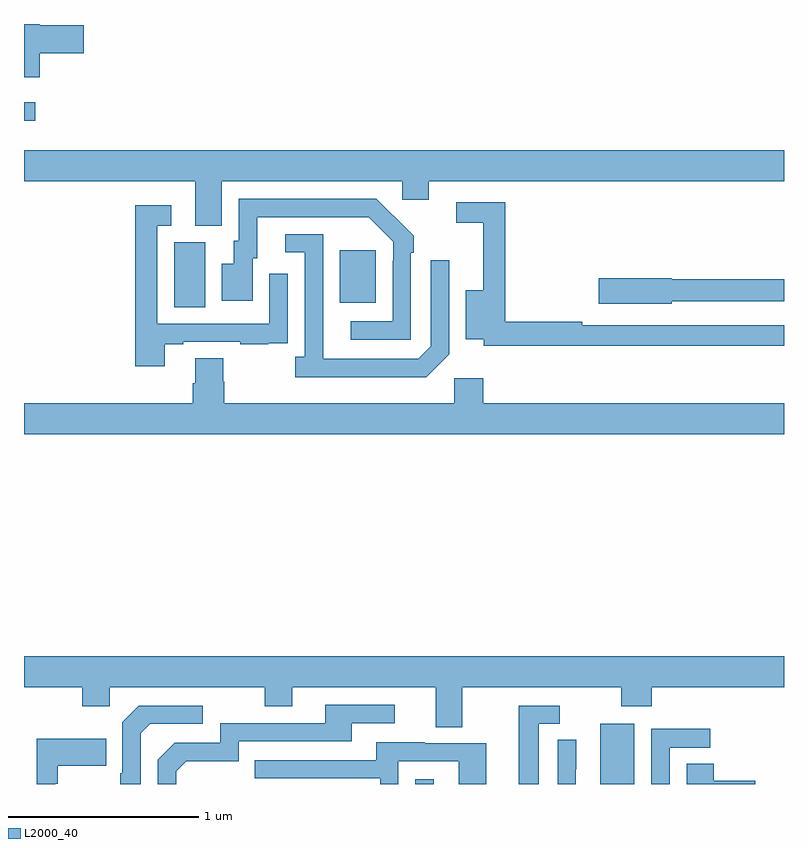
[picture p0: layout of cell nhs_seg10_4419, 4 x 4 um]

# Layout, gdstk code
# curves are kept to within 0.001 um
import gdstk
lib = gdstk.Library(unit=1e-6, precision=1e-09)
def R(c, l, rs):  # rectangles x0, y0, x1, y1
    for r in rs: c.add(gdstk.rectangle(r[:2], r[2:], *l))
def P(c, l, *ps):  # polygons
    for p in ps: c.add(gdstk.Polygon(p, *l))
L2000_40 = (2000, 40)

nhs_seg10_4419 = lib.new_cell('nhs_seg10_4419')
R(nhs_seg10_4419, L2000_40, [(363.06,1274.5,363.157,1274.524), (364.034,1274.5,364.213,1274.818), (361.79,1277.008,361.954,1277.352), (362.663,1277.033,362.851,1277.308), (361,1277.99,361.06,1278.088)])
P(nhs_seg10_4419, L2000_40, [(361.082,1278.347),(361.315,1278.347),(361.315,1278.494),(361.082,1278.494),(361.082,1278.5),(361,1278.5),(361,1278.219),(361.082,1278.219)],
  [(362.041,1277.672),(362.991,1277.672),(362.991,1277.574),(363.13,1277.574),(363.13,1277.672),(365,1277.672),(365,1277.836),(361,1277.836),(361,1277.672),(361.901,1277.672),(361.901,1277.437),(362.041,1277.437)],
  [(363.036,1277.297),(363.051,1277.297),(363.051,1277.385),(362.854,1277.58),(362.13,1277.58),(362.13,1277.358),(362.105,1277.358),(362.105,1277.239),(362.042,1277.239),(362.042,1277.043),(362.203,1277.043),(362.203,1277.268),(362.227,1277.268),(362.227,1277.484),(362.815,1277.484),(362.943,1277.355),(362.943,1277.255),(362.94,1277.255),(362.94,1276.935),(362.721,1276.935),(362.721,1276.839),(363.036,1276.839)],
  [(365,1276.914),(363.938,1276.914),(363.938,1276.934),(363.533,1276.934),(363.533,1277.562),(363.276,1277.562),(363.276,1277.454),(363.416,1277.454),(363.416,1277.098),(363.326,1277.098),(363.326,1276.841),(363.42,1276.841),(363.42,1276.806),(365,1276.806)],
  [(361.741,1276.815),(361.837,1276.815),(361.837,1276.827),(362.137,1276.827),(362.137,1276.815),(362.285,1276.815),(362.285,1276.821),(362.387,1276.821),(362.387,1276.93),(362.388,1276.93),(362.388,1277.185),(362.292,1277.185),(362.292,1276.923),(361.701,1276.923),(361.701,1277.439),(361.774,1277.439),(361.774,1277.545),(361.585,1277.545),(361.585,1276.698),(361.741,1276.698)],
  [(363.237,1276.761),(363.237,1277.257),(363.141,1277.257),(363.141,1276.803),(363.075,1276.737),(362.575,1276.737),(362.574,1277.394),(362.376,1277.394),(362.376,1277.298),(362.478,1277.298),(362.478,1276.75),(362.427,1276.75),(362.427,1276.64),(363.116,1276.64)],
  [(364.41,1277.04),(365,1277.04),(365,1277.156),(364.41,1277.156),(364.41,1277.162),(364.026,1277.162),(364.026,1277.027),(364.41,1277.027)],
  [(365,1276.504),(363.416,1276.504),(363.416,1276.636),(363.264,1276.636),(363.264,1276.504),(362.054,1276.504),(362.054,1276.617),(362.049,1276.617),(362.049,1276.742),(361.901,1276.742),(361.901,1276.61),(361.889,1276.61),(361.889,1276.504),(361,1276.504),(361,1276.34),(365,1276.34)],
  [(363.307,1275.008),(364.144,1275.008),(364.144,1274.909),(364.304,1274.909),(364.304,1275.008),(365,1275.008),(365,1275.172),(361,1275.172),(361,1275.008),(361.306,1275.008),(361.306,1274.909),(361.452,1274.909),(361.452,1275.008),(362.266,1275.008),(362.266,1274.909),(362.413,1274.909),(362.413,1275.008),(363.167,1275.008),(363.167,1274.8),(363.307,1274.8)],
  [(361.8,1274.568),(361.853,1274.621),(362.13,1274.621),(362.13,1274.724),(362.725,1274.724),(362.725,1274.82),(362.95,1274.82),(362.95,1274.916),(362.585,1274.916),(362.585,1274.82),(362.034,1274.82),(362.034,1274.718),(361.794,1274.718),(361.704,1274.628),(361.704,1274.5),(361.8,1274.5)],
  [(363.709,1274.817),(363.82,1274.817),(363.82,1274.913),(363.605,1274.913),(363.605,1274.5),(363.709,1274.5)],
  [(361.614,1274.766),(361.665,1274.817),(361.942,1274.817),(361.942,1274.913),(361.605,1274.913),(361.518,1274.826),(361.518,1274.557),(361.506,1274.557),(361.506,1274.5),(361.614,1274.5)],
  [(364.398,1274.691),(364.612,1274.691),(364.612,1274.79),(364.302,1274.79),(364.302,1274.5),(364.398,1274.5)],
  [(361.164,1274.501),(361.177,1274.501),(361.177,1274.597),(361.433,1274.597),(361.433,1274.737),(361.067,1274.737),(361.067,1274.5),(361.164,1274.5)],
  [(363.905,1274.578),(363.906,1274.578),(363.906,1274.732),(363.81,1274.732),(363.81,1274.5),(363.905,1274.5)],
  [(362.97,1274.619),(363.288,1274.619),(363.288,1274.5),(363.433,1274.5),(363.433,1274.715),(363.109,1274.715),(363.109,1274.719),(362.855,1274.719),(362.855,1274.625),(362.215,1274.625),(362.215,1274.529),(362.874,1274.529),(362.874,1274.5),(362.97,1274.5)],
  [(364.849,1274.516),(364.631,1274.516),(364.631,1274.606),(364.487,1274.606),(364.487,1274.5),(364.849,1274.5)])

lib.write_gds('nhs_seg10_4419.gds')
